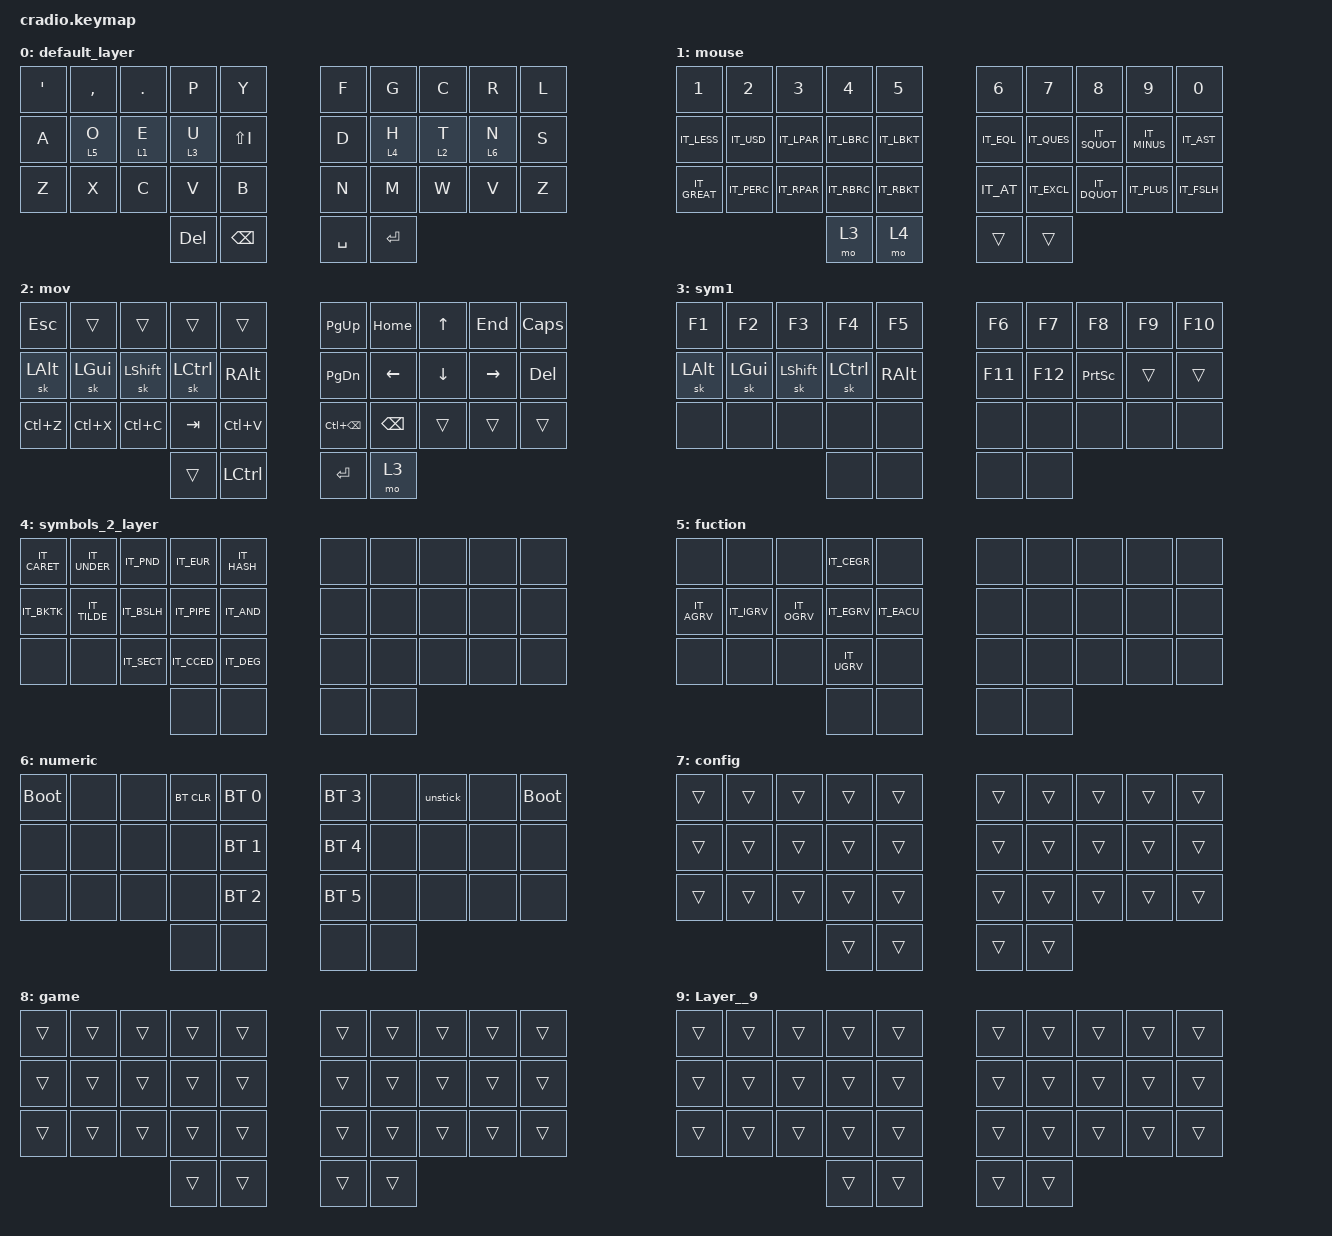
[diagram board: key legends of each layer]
/*
 * Copyright (c) 2020 The ZMK Contributors
 *
 * SPDX-License-Identifier: MIT
 */

#include <behaviors.dtsi>
#include "keymap_italian.h"
#include <dt-bindings/zmk/keys.h>
#include <dt-bindings/zmk/bt.h>

// Layer definitions

#define BASE 0
#define SYM 1
#define EXT 2
#define FNC 3
#define SYM2 4
#define ACCENT 5
#define SETTINGS 6

// -----------------

&mt {
    //  flavor = "tap-preferred";
    // tapping_term_ms = <200>;
};

&sk {
    ignore-modifiers;
};

/ {
    macros {
        // sometimes my device thinks a modifier is being held down
        // pressing all modifiers fixes it.

        unstick: unstick {
            label = "ZM_unstick";
            compatible = "zmk,behavior-macro";
            #binding-cells = <0>;
            bindings = <&kp LSHIFT &kp RSHIFT &kp LCTRL &kp RCTRL &kp LALT &kp RALT &kp LGUI &kp RGUI>;
        };
    };

    combos {
        compatible = "zmk,combos";

        // both right thumb keys
        // internal-left & external-right thumb keys
        // both left thumb keys
    };

    keymap {
        compatible = "zmk,keymap";

        // Base alpha layer

        default_layer {
            bindings = <
         &kp SINGLE_QUOTE  &kp COMMA  &kp DOT    &kp P          &kp Y              &kp F       &kp G    &kp C    &kp R   &kp L
                    &kp A    &lt 5 O  &lt 1 E  &lt 3 U      &kp LS(I)              &kp D     &lt 4 H  &lt 2 T  &lt 6 N   &kp S
                    &kp Z      &kp X    &kp C    &kp V          &kp B              &kp N       &kp M    &kp W    &kp V   &kp Z
                                               &kp DEL  &kp BACKSPACE          &kp SPACE  &kp RETURN
            >;
        };

        // Numbers and high frequency symbols

        mouse {
            bindings = <
               &kp N1       &kp N2       &kp N3       &kp N4       &kp N5              &kp N6       &kp N7        &kp N8        &kp N9       &kp N0
          &kp IT_LESS   &kp IT_USD  &kp IT_LPAR  &kp IT_LBRC  &kp IT_LBKT          &kp IT_EQL  &kp IT_QUES  &kp IT_SQUOT  &kp IT_MINUS   &kp IT_AST
         &kp IT_GREAT  &kp IT_PERC  &kp IT_RPAR  &kp IT_RBRC  &kp IT_RBKT           &kp IT_AT  &kp IT_EXCL  &kp IT_DQUOT   &kp IT_PLUS  &kp IT_FSLH
                                                       &mo 3        &mo 4              &trans       &trans
            >;
        };

        // Main modifiers and arrow keys

        mov {
            bindings = <
           &kp ESC     &trans      &trans     &trans     &trans             &kp PG_UP  &kp HOME    &kp UP    &kp END  &kp CAPS
          &sk LALT   &sk LGUI  &sk LSHIFT  &sk LCTRL   &kp RALT             &kp PG_DN  &kp LEFT  &kp DOWN  &kp RIGHT   &kp DEL
         &kp LC(Z)  &kp LC(X)   &kp LC(C)    &kp TAB  &kp LC(V)          &kp LC(BSPC)  &kp BSPC    &trans     &trans    &trans
                                              &trans  &kp LCTRL             &kp ENTER     &mo 3
            >;
        };

        // Function keys with modifiers

        sym1 {
            bindings = <
           &kp F1    &kp F2      &kp F3     &kp F4    &kp F5           &kp F6   &kp F7           &kp F8  &kp F9  &kp F10
         &sk LALT  &sk LGUI  &sk LSHIFT  &sk LCTRL  &kp RALT          &kp F11  &kp F12  &kp PRINTSCREEN  &trans   &trans
            &none     &none       &none      &none     &none            &none    &none            &none   &none    &none
                                             &none     &none            &none    &none
            >;
        };

        // Low frequency symbols.

        symbols_2_layer {
            bindings = <
         &kp IT_CARET  &kp IT_UNDER   &kp IT_PND   &kp IT_EUR  &kp IT_HASH           &none   &none   &none   &none   &none
          &kp IT_BKTK  &kp IT_TILDE  &kp IT_BSLH  &kp IT_PIPE   &kp IT_AND           &none   &none   &none   &none   &none
                &none         &none  &kp IT_SECT  &kp IT_CCED   &kp IT_DEG           &none   &none   &none   &none   &none
                                                        &none        &none           &none   &none
            >;
        };

        // Used to type regional accents.

        fuction {
            bindings = <
               &none        &none        &none  &kp IT_CEGR        &none           &none   &none   &none   &none   &none
         &kp IT_AGRV  &kp IT_IGRV  &kp IT_OGRV  &kp IT_EGRV  &kp IT_EACU           &none   &none   &none   &none   &none
               &none        &none        &none  &kp IT_UGRV        &none           &none   &none   &none   &none   &none
                                                      &none        &none           &none   &none
            >;
        };

        // Used to change the keyboard's settings.

        numeric {
            bindings = <
         &bootloader   &none   &none  &bt BT_CLR  &bt BT_SEL 0          &bt BT_SEL 3   &none  &unstick   &none  &bootloader
               &none   &none   &none       &none  &bt BT_SEL 1          &bt BT_SEL 4   &none     &none   &none        &none
               &none   &none   &none       &none  &bt BT_SEL 2          &bt BT_SEL 5   &none     &none   &none        &none
                                           &none         &none                 &none   &none
            >;
        };

        config {
            bindings = <
         &trans  &trans  &trans  &trans  &trans          &trans  &trans  &trans  &trans  &trans
         &trans  &trans  &trans  &trans  &trans          &trans  &trans  &trans  &trans  &trans
         &trans  &trans  &trans  &trans  &trans          &trans  &trans  &trans  &trans  &trans
                                 &trans  &trans          &trans  &trans
            >;
        };

        game {
            bindings = <
         &trans  &trans  &trans  &trans  &trans          &trans  &trans  &trans  &trans  &trans
         &trans  &trans  &trans  &trans  &trans          &trans  &trans  &trans  &trans  &trans
         &trans  &trans  &trans  &trans  &trans          &trans  &trans  &trans  &trans  &trans
                                 &trans  &trans          &trans  &trans
            >;
        };

        Layer__9 {
            bindings = <
         &trans  &trans  &trans  &trans  &trans          &trans  &trans  &trans  &trans  &trans
         &trans  &trans  &trans  &trans  &trans          &trans  &trans  &trans  &trans  &trans
         &trans  &trans  &trans  &trans  &trans          &trans  &trans  &trans  &trans  &trans
                                 &trans  &trans          &trans  &trans
            >;
        };
    };
};
